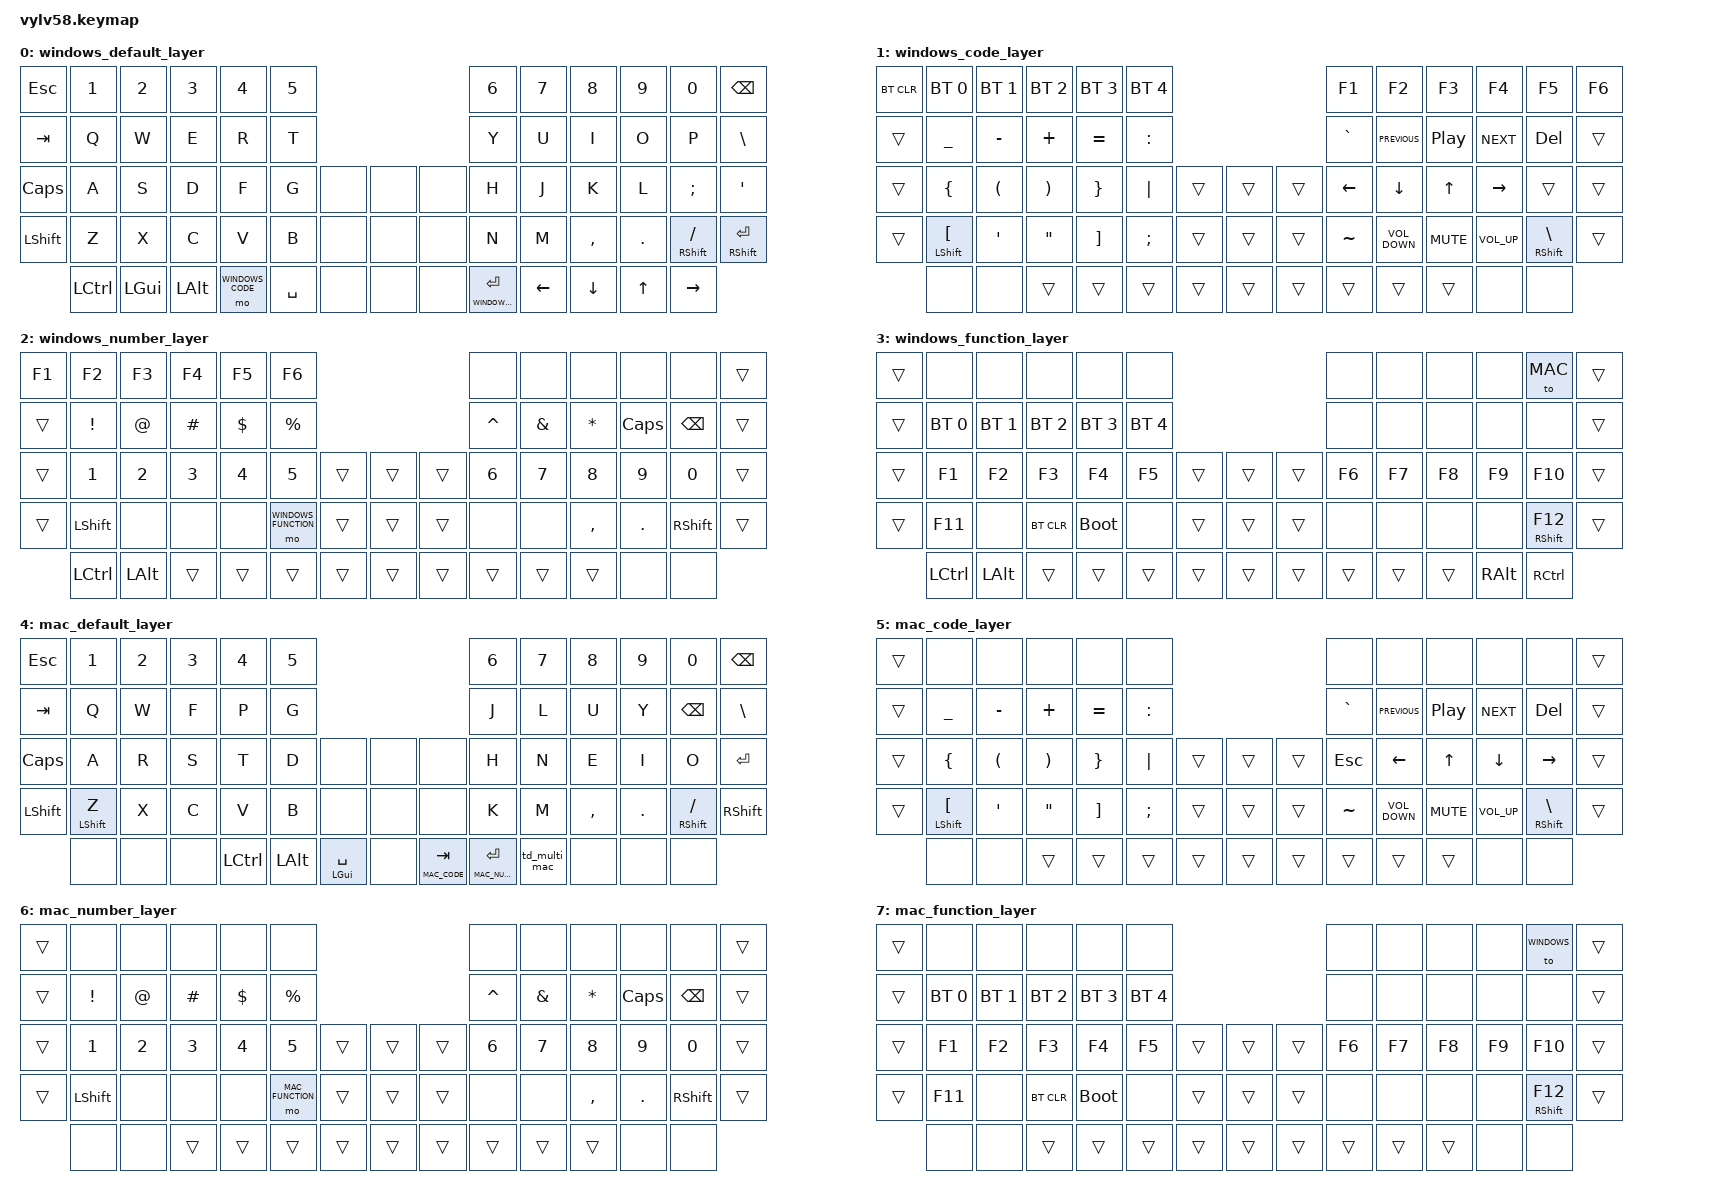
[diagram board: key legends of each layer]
#include <behaviors.dtsi>
#include <dt-bindings/zmk/keys.h>
#include <dt-bindings/zmk/bt.h>

#define WINDOWS 0
#define WINDOWS_CODE 1
#define WINDOWS_NUMBER 2
#define WINDOWS_FUNCTION 3
#define MAC 4
#define MAC_CODE 5
#define MAC_NUMBER 6
#define MAC_FUNCTION 7

    // Behavior Overrides
    &lt {
        tapping-term-ms = <200>;
        flavor = "hold-preferred";
    };

/ {
    //combos {
      //  compatible = "zmk,combos";
        
        //combo_tab {
        //  timeout-ms = <20>;
        //  key-positions = <1 2>;
        //  bindings = <&kp TAB>;
        //};

      //  combo_enter {
        //    timeout-ms = <20>;
          //  key-positions = <13 14>;
            //bindings = <&kp ENTER>;
        //};
    //};

    macros {
        spotlight: spotlight {
            label = "spotlight";
            compatible = "zmk,behavior-macro";
            #binding-cells = <0>;
            bindings = <&macro_press &kp LGUI>, <&macro_tap &kp SPACE>, <&macro_release &kp LGUI>; 
        };

        // Emoji
        mac_emoji: mac_emoji {
            label = "mac_emoji";
            compatible = "zmk,behavior-macro";
            #binding-cells = <0>;
            bindings = <&macro_press &kp LGUI>, <&macro_press &kp LCTRL>, <&macro_tap &kp SPACE>, <&macro_release &kp LCTRL>, <&macro_release &kp LGUI>; 
        };

        win_emoji: win_emoji {
            label = "win_emoji";
            compatible = "zmk,behavior-macro";
            #binding-cells = <0>;
            bindings = <&macro_press &kp LGUI>, <&macro_tap &kp DOT>, <&macro_release &kp LGUI>; 
        };
    };

    behaviors {
        td_multi_mac: tap_dance_multi_mac {
            compatible = "zmk,behavior-tap-dance";
            label = "TAP_DANCE_MULTI_MAC";
            #binding-cells = <0>;
            tapping-term-ms = <200>;
            bindings = <&kp ESC>, <&spotlight>, <&mac_emoji>;
        };

        td_multi_windows: tap_dance_multi_windows {
            compatible = "zmk,behavior-tap-dance";
            label = "TAP_DANCE_MULTI_WINDOWS";
            #binding-cells = <0>;
            tapping-term-ms = <200>;
            bindings = <&kp ESC>, <&kp DOWN>, <&win_emoji>;
        };

        bm: bottom_row_mods {
            compatible = "zmk,behavior-hold-tap";
            label = "BOTTOM_ROW_MODS";
            #binding-cells = <2>;
            tapping-term-ms = <135>;
            quick-tap-ms = <0>;
            flavor = "tap-preferred";
            bindings = <&kp>, <&kp>;
        };

        cm: code_row_mods {
            compatible = "zmk,behavior-hold-tap";
            label = "CODE_ROW_MODS";
            #binding-cells = <2>;
            tapping-term-ms = <200>;
            quick-tap-ms = <0>;
            flavor = "tap-preferred";
            bindings = <&kp>, <&kp>;
            retro-tap;
        };

        sm: space_mod {
            compatible = "zmk,behavior-hold-tap";
            label = "SPACE_MOD";
            #binding-cells = <2>;
            flavor = "balanced";
            tapping-term-ms = <200>;
            quick-tap-ms = <125>;
            bindings = <&kp>, <&kp>;
        };
    };
    
    keymap {
        compatible = "zmk,keymap";

        windows_default_layer {
            bindings = <
                &kp ESC    &kp N1       &kp N2          &kp N3      &kp N4          &kp N5                                                      &kp N6                   &kp N7                   &kp N8                  &kp N9        &kp N0           &kp BACKSPACE
                &kp TAB    &kp Q        &kp W           &kp E       &kp R           &kp T                                                       &kp Y                    &kp U                    &kp I                   &kp O         &kp P            &kp BACKSLASH
                &kp CAPS   &kp A        &kp S           &kp D       &kp F           &kp G               &none             &none        &none    &kp H                    &kp J                    &kp K                   &kp L         &kp SEMICOLON    &kp SQT
                &kp LSHIFT &kp Z        &kp X           &kp C       &kp V           &kp B               &none             &none        &none    &kp N                    &kp M                    &kp COMMA               &kp PERIOD    &bm RSHIFT FSLH  &bm RSHIFT ENTER
                           &kp LCTL     &kp LGUI        &kp LALT   &mo WINDOWS_CODE &kp SPACE           &none             &none        &none    &lt WINDOWS_NUMBER ENTER &kp LEFT                 &kp DOWN                &kp UP        &kp RIGHT
            >;
        };

        windows_code_layer {
            bindings = <
                &bt BT_CLR &bt BT_SEL 0             &bt BT_SEL 1         &bt BT_SEL 2           &bt BT_SEL 3            &bt BT_SEL 4                                            &kp F1              &kp F2              &kp F3              &kp F4           &kp F5                   &kp F6
                &trans     &kp UNDER                &kp MINUS            &kp PLUS               &kp EQUAL               &kp COLON                                               &kp GRAVE           &kp C_PREVIOUS      &kp C_PLAY_PAUSE    &kp C_NEXT       &kp DELETE               &trans
                &trans     &kp LEFT_BRACE           &kp LEFT_PARENTHESIS &kp RIGHT_PARENTHESIS  &kp RIGHT_BRACE         &kp PIPE            &trans      &trans      &trans      &kp LEFT            &kp DOWN            &kp UP              &kp RIGHT        &trans                   &trans
                &trans     &cm LSHIFT LEFT_BRACKET  &kp APOSTROPHE       &kp DOUBLE_QUOTES      &kp RIGHT_BRACKET       &kp SEMICOLON       &trans      &trans      &trans      &kp TILDE           &kp C_VOLUME_DOWN   &kp C_MUTE          &kp C_VOLUME_UP  &cm RSHIFT BACKSLASH     &trans
                           &none                    &none                &trans                 &trans                  &trans              &trans      &trans      &trans      &trans              &trans              &trans              &none            &none
            >;
        };

        windows_number_layer {
            bindings = <
                &kp F1 &kp F2          &kp F3      &kp F4   &kp F5     &kp F6                                    &none     &none         &none        &none      &none         &trans
                &trans &kp EXCLAMATION &kp AT_SIGN &kp HASH &kp DOLLAR &kp PERCENT                               &kp CARET &kp AMPERSAND &kp ASTERISK &kp CAPS   &kp BACKSPACE &trans
                &trans &kp N1          &kp N2      &kp N3   &kp N4     &kp N5               &trans &trans &trans &kp N6    &kp N7        &kp N8       &kp N9     &kp N0        &trans
                &trans &kp LSHIFT      &none       &none    &none      &mo WINDOWS_FUNCTION &trans &trans &trans &none     &none         &kp COMMA    &kp PERIOD &kp RSHIFT    &trans
                                                &kp LCTL &kp LALT &trans   &trans     &trans               &trans &trans &trans &trans    &trans        &trans &none &none
            >;
        };

        windows_function_layer {
            bindings = <
                &trans &none        &none        &none        &none        &none                             &none     &none  &none  &none  &to MAC        &trans
                &trans &bt BT_SEL 0 &bt BT_SEL 1 &bt BT_SEL 2 &bt BT_SEL 3 &bt BT_SEL 4                      &none     &none  &none  &none  &none          &trans
                &trans &kp F1       &kp F2       &kp F3       &kp F4       &kp F5       &trans &trans &trans &kp F6    &kp F7 &kp F8 &kp F9 &kp F10        &trans
                &trans &kp F11      &none        &bt BT_CLR   &bootloader  &none        &trans &trans &trans &none     &none  &none  &none  &cm RSHIFT F12 &trans
                                        &kp LCTRL &kp LALT &trans       &trans       &trans       &trans &trans &trans &trans    &trans &trans &kp RALT &kp RCTL
            >;
        };

        mac_default_layer {
            bindings = <
                &kp ESC    &kp N1        &kp N2 &kp N3 &kp N4    &kp N5                                          &kp N6               &kp N7              &kp N8        &kp N9      &kp N0          &kp BACKSPACE
                &kp TAB    &kp Q         &kp W  &kp F  &kp P     &kp G                                           &kp J                &kp L               &kp U         &kp Y       &kp BACKSPACE   &kp BACKSLASH
                &kp CAPS   &kp A         &kp R  &kp S  &kp T     &kp D     &none          &none &none            &kp H                &kp N               &kp E         &kp I       &kp O           &kp ENTER
                &kp LSHIFT &bm LSHIFT Z  &kp X  &kp C  &kp V     &kp B     &none          &none &none            &kp K                &kp M               &kp COMMA     &kp PERIOD  &bm RSHIFT FSLH &kp RSHIFT
                                               &none &none &none  &kp LCTRL &kp LALT  &sm LGUI SPACE &none &lt MAC_CODE TAB &lt MAC_NUMBER ENTER &td_multi_mac &none &none &none
            >;
        };

        mac_code_layer {
            bindings = <
                &trans &none                   &none                &none                 &none             &none                              &none     &none             &none            &none            &none                &trans
                &trans &kp UNDER               &kp MINUS            &kp PLUS              &kp EQUAL         &kp COLON                          &kp GRAVE &kp C_PREVIOUS    &kp C_PLAY_PAUSE &kp C_NEXT       &kp DELETE           &trans
                &trans &kp LEFT_BRACE          &kp LEFT_PARENTHESIS &kp RIGHT_PARENTHESIS &kp RIGHT_BRACE   &kp PIPE      &trans &trans &trans &kp ESC   &kp LEFT          &kp UP           &kp DOWN         &kp RIGHT            &trans
                &trans &cm LSHIFT LEFT_BRACKET &kp APOSTROPHE       &kp DOUBLE_QUOTES     &kp RIGHT_BRACKET &kp SEMICOLON &trans &trans &trans &kp TILDE &kp C_VOLUME_DOWN &kp C_MUTE       &kp C_VOLUME_UP  &cm RSHIFT BACKSLASH &trans
                                                                   &none &none &trans                &trans            &trans        &trans &trans &trans &trans    &trans            &trans &none &none
            >;
        };

        mac_number_layer {
            bindings = <
                &trans &none           &none       &none    &none      &none                                 &none     &none         &none        &none      &none         &trans
                &trans &kp EXCLAMATION &kp AT_SIGN &kp HASH &kp DOLLAR &kp PERCENT                           &kp CARET &kp AMPERSAND &kp ASTERISK &kp CAPS   &kp BACKSPACE &trans
                &trans &kp N1          &kp N2      &kp N3   &kp N4     &kp N5           &trans &trans &trans &kp N6    &kp N7        &kp N8       &kp N9     &kp N0        &trans
                &trans &kp LSHIFT      &none       &none    &none      &mo MAC_FUNCTION &trans &trans &trans &none     &none         &kp COMMA    &kp PERIOD &kp RSHIFT    &trans
                                                  &none &none &trans   &trans     &trans           &trans &trans &trans &trans    &trans        &trans &none &none
            >;
        };

        mac_function_layer {
            bindings = <
                &trans &none        &none        &none        &none        &none                             &none     &none  &none  &none  &to WINDOWS    &trans
                &trans &bt BT_SEL 0 &bt BT_SEL 1 &bt BT_SEL 2 &bt BT_SEL 3 &bt BT_SEL 4                      &none     &none  &none  &none  &none          &trans
                &trans &kp F1       &kp F2       &kp F3       &kp F4       &kp F5       &trans &trans &trans &kp F6    &kp F7 &kp F8 &kp F9 &kp F10        &trans
                &trans &kp F11      &none        &bt BT_CLR   &bootloader  &none        &trans &trans &trans &none     &none  &none  &none  &cm RSHIFT F12 &trans
                                                &none &none &trans       &trans       &trans       &trans &trans &trans &trans    &trans &trans &none &none
            >;
        };
    };
};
